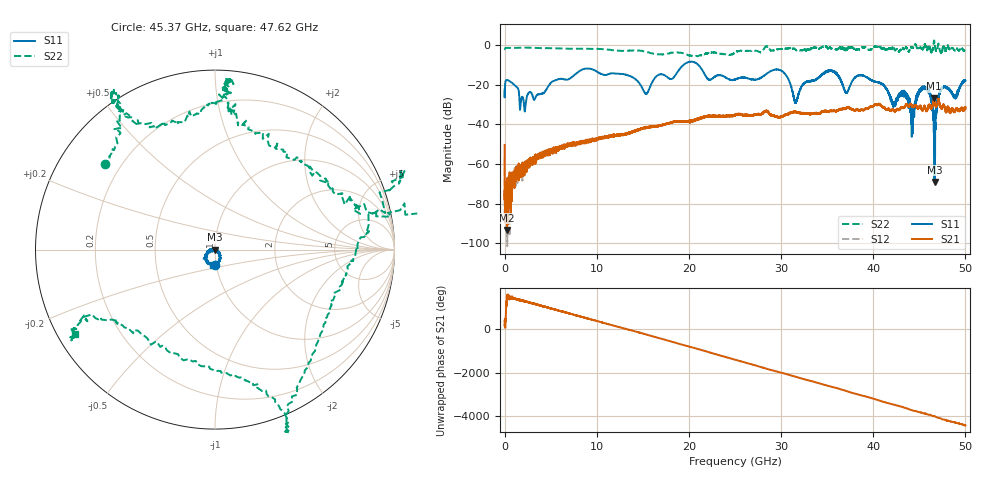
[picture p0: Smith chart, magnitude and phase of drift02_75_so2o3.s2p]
!Created with skrf (http://scikit-rf.org).
# Hz S RI R 50.0
!freq ReS11 ImS11 ReS21 ImS21 ReS12 ImS12 ReS22 ImS22
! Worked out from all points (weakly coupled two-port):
!   10001 points, 300 kHz to 50 GHz, reference 50 ohm
!   highest |S21| = -26.77 dB at 46.61 GHz (marker M1); lowest = -93.2 dB at 255.3 MHz (marker M2)
!   lowest |S11| = -69.0 dB at 46.65 GHz (marker M3), VSWR 1.00, Z = 50 + j0.0113 ohm
!   |S11| at or under -10 dB: start of sweep to 19.42 GHz; 21.00499 GHz to 21.00637 GHz (1.378 MHz wide, 0.00656 % of centre); 21.01 GHz to end of sweep
!   |S22| runs from -5.7 to 2.3 dB; largest |S21 - S12| = 0.0028
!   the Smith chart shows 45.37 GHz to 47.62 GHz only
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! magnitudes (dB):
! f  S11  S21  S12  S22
! 300 kHz  -22.4  -50.3  -57.0  -2.0
! 255.3 MHz  -17.6  -93.2  -80.9  -1.4
! 2.185 GHz  -33.5  -60.4  -62.5  -1.3
! 8.335 GHz  -12.5  -49.2  -49.2  -1.9
! 15.35 GHz  -24.5  -41.2  -41.6  -3.3
! 16.67 GHz  -15.1  -40.7  -40.8  -4.7
! 20.3 GHz  -8.4  -38.5  -38.2  -5.5
! 25 GHz  -17.4  -35.5  -35.4  -3.8
! 29.85 GHz  -12.6  -36.3  -36.4  -2.0
! 31.59 GHz  -28.7  -33.7  -34.1  -2.4
! 33.34 GHz  -18.0  -34.6  -34.5  -1.5
! 35.59 GHz  -13.3  -33.2  -33.2  -1.5
! 37.1 GHz  -24.2  -31.6  -31.7  -2.2
! 38.78 GHz  -15.3  -32.6  -32.6  -1.0
! 41.67 GHz  -24.2  -32.1  -32.3  -1.8
! 43.43 GHz  -23.7  -31.2  -31.1  -1.8
! 44.27 GHz  -33.3  -31.1  -31.2  -1.4
! 45.72 GHz  -21.5  -32.8  -32.7  -1.0
! 46.61 GHz  -39.7  -26.8  -26.8  2.3
! 46.65 GHz  -69.0  -27.8  -27.9  0.7
! 47.46 GHz  -21.9  -31.9  -31.5  -3.5
! 50 GHz  -17.9  -32.2  -31.7  -2.6
